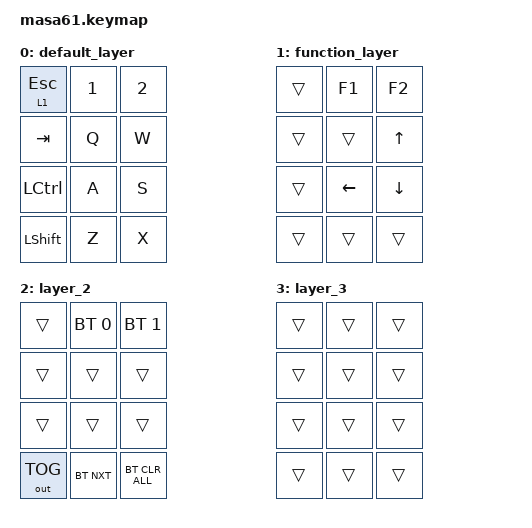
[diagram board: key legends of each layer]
/*
 * Copyright (c) 2020 The ZMK Contributors
 *
 * SPDX-License-Identifier: MIT
 */


#include <behaviors.dtsi>
#include <dt-bindings/zmk/bt.h>
#include <dt-bindings/zmk/keys.h>
#include <dt-bindings/zmk/outputs.h>


#define DEF 0
#define FUN 1


&lt { quick_tap_ms = <220>; };

&mt { quick_tap_ms = <220>; };


/ {
    keymap {
        compatible = "zmk,keymap";

        default_layer {
            bindings = <
&lt 1 ESCAPE      &kp NUMBER_1  &kp NUMBER_2
&kp TAB           &kp Q         &kp W        
&kp LEFT_CONTROL  &kp A         &kp S        
&kp LEFT_SHIFT    &kp Z         &kp X        
            >;
        };

        function_layer {
            bindings = <
&trans  &kp F1      &kp F2   
&trans  &trans      &kp UP    
&trans  &kp LEFT    &kp DOWN  
&trans  &trans      &trans    
            >;
        };

        layer_2 {
            bindings = <
&trans  &bt BT_SEL 0  &bt BT_SEL 1  
&trans  &trans        &trans        
&trans  &trans        &trans        
&out OUT_TOG  &bt BT_NXT    &bt BT_CLR_ALL 
            >;
        };

        layer_3 {
            bindings = <
&trans  &trans  &trans
&trans  &trans  &trans 
&trans  &trans  &trans 
&trans  &trans  &trans
            >;
        };
    };
};
